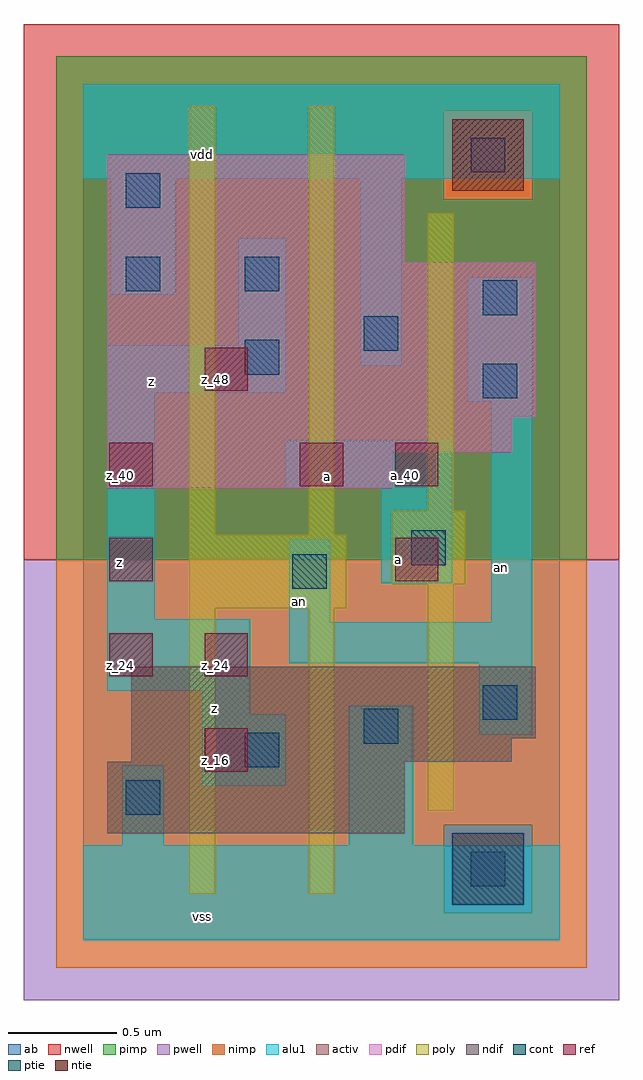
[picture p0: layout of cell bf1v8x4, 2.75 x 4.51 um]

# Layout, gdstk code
import gdstk
lib = gdstk.Library(unit=1e-6, precision=2.5e-09)
def R(c, l, rs):  # rectangles x0, y0, x1, y1
    for r in rs: c.add(gdstk.rectangle(r[:2], r[2:], *l))
def A(c, l, x, y, w, h, nx, ny, dx, dy):  # array of equal rectangles
    R(c, l, [(x+i*dx, y+j*dy, x+i*dx+w, y+j*dy+h) for i in range(nx) for j in range(ny)])
ndif = (3, 0)
pdif = (4, 0)
ntie = (5, 0)
ptie = (6, 0)
ref = (24, 0)
cont = (25, 0)
pwell = (41, 0)
nwell = (42, 0)
activ = (43, 0)
pimp = (44, 0)
nimp = (45, 0)
poly = (46, 0)
alu1 = (49, 0)
ab = (63, 0)

bf1v8x4 = lib.new_cell('bf1v8x4')
R(bf1v8x4, ndif, [(0.11,0.495,1.485,0.825), (0.22,0.825,1.98,0.935), (0.22,0.935,2.09,1.265)])
R(bf1v8x4, pdif, [(0.11,2.09,1.43,2.255), (0.11,2.255,1.98,2.42), (0.11,2.42,2.09,3.135), (0.11,3.135,1.485,3.63)])
R(bf1v8x4, ntie, [(1.705,3.465,2.035,3.795)])
R(bf1v8x4, ptie, [(1.705,0.165,2.035,0.495)])
A(bf1v8x4, ref, 0.12, 1.22, 0.2, 0.2, 1, 3, 0, 0.44)
R(bf1v8x4, ref, [(0.56,0.78,0.76,0.98), (0.56,1.22,0.76,1.42), (1.44,1.66,1.64,1.86), (1,2.1,1.2,2.3), (1.44,2.1,1.64,2.3), (0.56,2.54,0.76,2.74)])
R(bf1v8x4, cont, [(1.79,0.25,1.95,0.41), (0.195,0.58,0.355,0.74), (0.745,0.8,0.905,0.96), (1.295,0.91,1.455,1.07), (1.845,1.02,2.005,1.18), (0.965,1.625,1.125,1.785), (1.515,1.735,1.675,1.895), (1.845,2.505,2.005,2.665), (0.745,2.615,0.905,2.775), (1.295,2.725,1.455,2.885), (1.845,2.89,2.005,3.05), (0.195,3,0.355,3.16), (0.745,3,0.905,3.16), (0.195,3.385,0.355,3.545), (1.79,3.55,1.95,3.71)])
R(bf1v8x4, pwell, [(-0.275,-0.275,2.475,1.76)])
R(bf1v8x4, nwell, [(-0.275,1.76,2.475,4.235)])
R(bf1v8x4, activ, [(1.705,0.165,2.035,0.495), (0.11,0.495,1.485,0.825), (0.22,0.825,1.98,0.935), (0.22,0.935,2.09,1.265), (0.11,2.09,1.43,2.255), (0.11,2.255,1.98,2.42), (0.11,2.42,2.09,3.135), (0.11,3.135,1.485,3.63), (1.705,3.465,2.035,3.795)])
R(bf1v8x4, pimp, [(1.665,0.125,2.075,0.535), (-0.125,1.76,2.325,3.425), (-0.125,3.425,1.665,3.835), (2.075,3.425,2.325,3.835), (-0.125,3.835,2.325,4.085)])
R(bf1v8x4, nimp, [(-0.125,-0.125,2.325,0.125), (-0.125,0.125,1.665,0.535), (2.075,0.125,2.325,0.535), (-0.125,0.535,2.325,1.76), (1.665,3.425,2.075,3.835)])
R(bf1v8x4, poly, [(0.49,0.215,0.61,1.535), (1.04,0.215,1.16,1.535), (1.59,0.6,1.71,1.645), (0.49,1.535,1.215,1.875), (1.425,1.645,1.765,1.985), (0.49,1.875,0.61,3.855), (1.04,1.875,1.16,3.855), (1.59,1.985,1.71,3.36)])
R(bf1v8x4, alu1, [(0,0,2.2,0.44), (0.18,0.44,0.37,0.81), (1.225,0.44,1.525,1.085), (0.55,0.715,0.935,1.045), (1.83,0.95,2.075,1.28), (0.55,1.045,0.77,1.155), (0.11,1.155,0.77,1.485), (0.95,1.28,2.075,1.47), (0.95,1.47,1.14,1.855), (1.885,1.47,2.075,2.49), (0.11,1.485,0.33,2.53), (1.375,1.65,1.705,2.09), (0.935,2.09,1.705,2.31), (1.775,2.49,2.075,3.065), (0.11,2.53,0.935,2.75), (1.28,2.655,1.47,3.52), (0.715,2.75,0.935,3.245), (0.125,2.985,0.425,3.52), (0,3.52,2.2,3.96)])
R(bf1v8x4, ab, [(0,0,2.2,3.96)])
bf1v8x4.add(gdstk.Label('vss', (0.55,0.11), layer=49, texttype=0))
bf1v8x4.add(gdstk.Label('z', (0.605,1.0725), layer=49, texttype=0))
bf1v8x4.add(gdstk.Label('an', (1.9325,1.725), layer=49, texttype=0))
bf1v8x4.add(gdstk.Label('a', (1.4575,1.76), layer=49, texttype=0))
bf1v8x4.add(gdstk.Label('an', (0.9975,1.565), layer=49, texttype=0))
bf1v8x4.add(gdstk.Label('a', (1.1275,2.145), layer=49, texttype=0))
bf1v8x4.add(gdstk.Label('z', (0.165,1.745), layer=49, texttype=0))
bf1v8x4.add(gdstk.Label('z', (0.315,2.585), layer=49, texttype=0))
bf1v8x4.add(gdstk.Label('vdd', (0.55,3.63), layer=49, texttype=0))
bf1v8x4.add(gdstk.Label('z_16', (0.61,0.83), layer=24, texttype=0))
bf1v8x4.add(gdstk.Label('z_24', (0.61,1.27), layer=24, texttype=0))
bf1v8x4.add(gdstk.Label('z_48', (0.61,2.59), layer=24, texttype=0))
bf1v8x4.add(gdstk.Label('a_40', (1.05,2.15), layer=24, texttype=0))
bf1v8x4.add(gdstk.Label('a_32', (1.49,1.71), layer=24, texttype=0))
bf1v8x4.add(gdstk.Label('a_40', (1.49,2.15), layer=24, texttype=0))
bf1v8x4.add(gdstk.Label('z_24', (0.17,1.27), layer=24, texttype=0))
bf1v8x4.add(gdstk.Label('z_32', (0.17,1.71), layer=24, texttype=0))
bf1v8x4.add(gdstk.Label('z_40', (0.17,2.15), layer=24, texttype=0))

lib.write_gds('bf1v8x4.gds')
